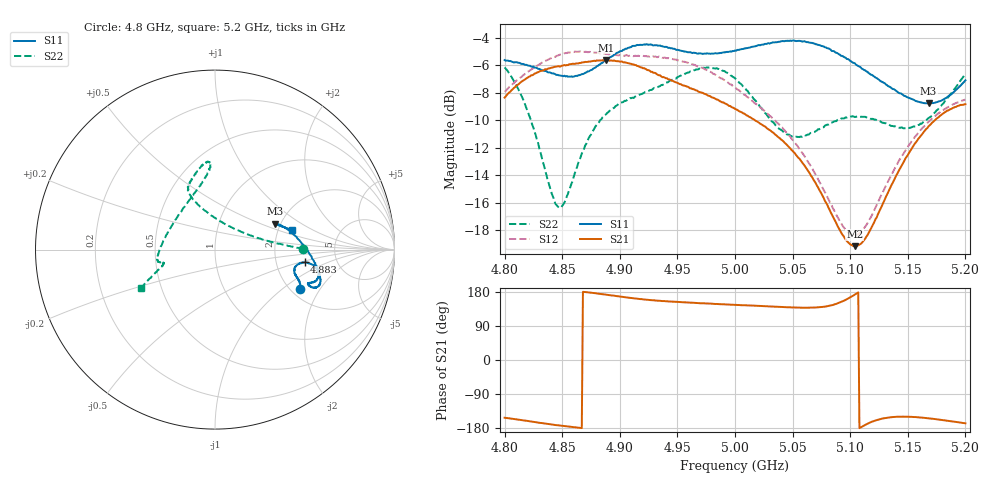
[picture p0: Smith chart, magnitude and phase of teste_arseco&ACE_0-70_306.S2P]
! Network Analyzer HP8722D
! Hewlett-Packard
! Data name: Linha & Wilkinson
! Saver's name: Rodrigo Anjos
! Comments: Teste da utilização de aquisição
! continua pelo VNA HP8722D
! Time and date: 8/5/2025 15:18
!  Frequency  S11  S21  S12  S22
# HZ  S  MA R 50
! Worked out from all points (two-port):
!   401 points, 4.8 GHz to 5.2 GHz, reference 50 ohm
!   highest |S21| = -5.63 dB at 4.888 GHz (marker M1); lowest = -19.2 dB at 5.104 GHz (marker M2)
!   |S21| within 3 dB of the highest: start of sweep to 4.987 GHz
!   lowest |S11| = -8.8 dB at 5.168 GHz (marker M3), VSWR 2.14, Z = 93.2 + j31.2 ohm
!   |S11| at or under -10 dB: nowhere
!   |S22| runs from -16.4 to -6.2 dB; largest |S21 - S12| = 1.1
!   S11 on the Smith chart (normalised r, x): 4.8 GHz: 2.23, -1.36; 4.883 GHz: 2.92, -0.56; 5.2 GHz: 2.37, +0.65
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4.8e9  0.5229 -25.1  0.3819 -152.5  0.4014 7.3  0.4918 0.5
4.818e9  0.5023 -20.8  0.4454 -159.9  0.4684 4.2  0.3585 5.3
4.84e9  0.4705 -17.7  0.4894 -169.8  0.5306 1.0  0.176 34.5
4.846e9  0.462 -16.3  0.4965 -172.2  0.5428 -0.2  0.1539 55.8
4.853e9  0.4559 -14.6  0.4998 -174.6  0.5545 -1.4  0.1622 80.7
4.867e9  0.465 -10.7  0.5127 -179.7  0.5593 -3.5  0.2394 106.8
4.883e9  0.5047 -8.1  0.5211 174.3  0.5528 -4.5  0.3168 114.1
4.888e9  0.5235 -8.0  0.523 172.5  0.5496 -4.6  0.3321 114.6
4.913e9  0.589 -12.2  0.5017 162.5  0.5422 -3.6  0.3845 112.5
4.934e9  0.5898 -16.9  0.4604 156.3  0.5388 -4.4  0.4194 107.1
4.975e9  0.5523 -19.9  0.3926 149.3  0.4826 -7.9  0.4914 95.0
5e9  0.5667 -21.1  0.3477 145.5  0.4158 -7.6  0.4497 94.4
5.044e9  0.6142 -19.0  0.2596 139.4  0.287 0.8  0.283 132.6
5.067e9  0.6038 -14.2  0.1962 138.1  0.2115 8.4  0.2845 165.2
5.093e9  0.5413 -4.8  0.1216 154.3  0.1315 33.7  0.3211 -173.8
5.104e9  0.5094 0.7  0.1101 172.7  0.1203 54.9  0.3247 -169.8
5.115e9  0.4737 6.3  0.1208 -168.1  0.1334 75.5  0.3228 -167.7
5.134e9  0.4188 15.7  0.1769 -151.4  0.1937 94.0  0.3039 -166.7
5.152e9  0.3795 21.7  0.2439 -150.0  0.2594 98.6  0.2966 -164.8
5.168e9  0.3638 23.5  0.3003 -154.0  0.3122 99.2  0.3218 -161.5
5.182e9  0.3786 21.1  0.3375 -159.4  0.3469 99.0  0.3698 -157.8
5.2e9  0.4415 14.6  0.3614 -167.1  0.3763 99.6  0.4657 -152.4
